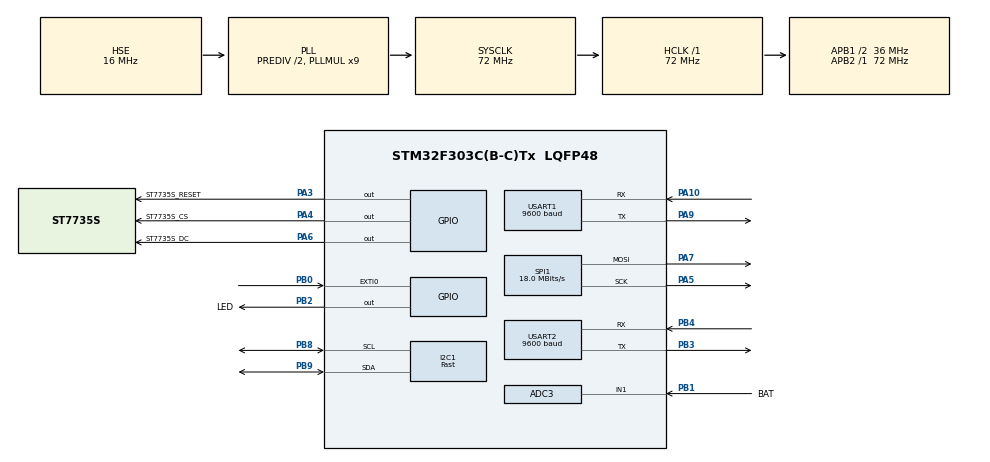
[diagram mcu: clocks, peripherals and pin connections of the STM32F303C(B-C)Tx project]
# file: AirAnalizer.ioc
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ADC3.Channel-0\#ChannelRegularConversion=ADC_CHANNEL_1
ADC3.NbrOfConversionFlag=1
ADC3.Offset-0\#ChannelRegularConversion=0
ADC3.OffsetNumber-0\#ChannelRegularConversion=ADC_OFFSET_NONE
ADC3.Rank-0\#ChannelRegularConversion=1
ADC3.SamplingTime-0\#ChannelRegularConversion=ADC_SAMPLETIME_1CYCLE_5
ADC3.SamplingTimeOPAMP-0\#ChannelRegularConversion=ADC_SAMPLETIME_61CYCLES_5
ADC3.master=1
Dma.ADC3.0.Direction=DMA_PERIPH_TO_MEMORY
Dma.ADC3.0.Instance=DMA2_Channel5
Dma.ADC3.0.MemDataAlignment=DMA_MDATAALIGN_HALFWORD
Dma.ADC3.0.MemInc=DMA_MINC_ENABLE
Dma.ADC3.0.Mode=DMA_NORMAL
Dma.ADC3.0.PeriphDataAlignment=DMA_PDATAALIGN_HALFWORD
Dma.ADC3.0.PeriphInc=DMA_PINC_DISABLE
Dma.ADC3.0.Priority=DMA_PRIORITY_LOW
Dma.Request0=ADC3
I2C1.Analog_Filter=I2C_ANALOGFILTER_ENABLE
I2C1.DualAddressMode=I2C_DUALADDRESS_DISABLE
I2C1.GeneralCallMode=I2C_GENERALCALL_DISABLE
I2C1.I2C_Coeff_DF=0
I2C1.I2C_Fall_Time=0
I2C1.I2C_Rise_Time=0
I2C1.I2C_Speed_Mode=I2C_Fast
I2C1.NoStretchMode=I2C_NOSTRETCH_DISABLE
I2C1.Speed=40
I2C1.Timing=0x3010BEFF
Mcu.Family=STM32F3
Mcu.Name=STM32F303C(B-C)Tx
Mcu.Package=LQFP48
NVIC.DMA2_Channel5_IRQn=true\:0\:0\:false\:false\:true\:false\:true\:true
NVIC.EXTI0_IRQn=true\:0\:0\:false\:false\:true\:true\:true\:true
NVIC.PriorityGroup=NVIC_PRIORITYGROUP_4
NVIC.TIM4_IRQn=true\:0\:0\:false\:false\:true\:true\:true\:true
PA10.Mode=Asynchronous
PA10.Signal=USART1_RX
PA3.GPIO_Label=ST7735S_RESET
PA3.Signal=GPIO_Output
PA4.GPIO_Label=ST7735S_CS
PA4.Signal=GPIO_Output
PA5.Mode=TX_Only_Simplex_Unidirect_Master
PA5.Signal=SPI1_SCK
PA6.GPIO_Label=ST7735S_DC
PA6.Signal=GPIO_Output
PA7.Mode=TX_Only_Simplex_Unidirect_Master
PA7.Signal=SPI1_MOSI
PA9.Mode=Asynchronous
PA9.Signal=USART1_TX
PB0.Signal=GPXTI0
PB1.GPIO_Label=BAT
PB1.Mode=IN1-Single-Ended
PB1.Signal=ADC3_IN1
PB2.GPIO_Label=LED
PB2.Signal=GPIO_Output
PB3.GPIO_PuPd=GPIO_NOPULL
PB3.Mode=Asynchronous
PB3.Signal=USART2_TX
PB4.GPIO_PuPd=GPIO_NOPULL
PB4.Mode=Asynchronous
PB4.Signal=USART2_RX
PB8.GPIO_FM8=SYSCFG_CFGR1_I2C_PB8_FMP
PB8.GPIO_Pu=GPIO_NOPULL
PB8.Mode=I2C
PB8.Signal=I2C1_SCL
PB9.GPIO_FM9=SYSCFG_CFGR1_I2C_PB9_FMP
PB9.GPIO_Pu=GPIO_NOPULL
PB9.Mode=I2C
PB9.Signal=I2C1_SDA
PF0-OSC_IN.Mode=HSE-External-Oscillator
PF0-OSC_IN.Signal=RCC_OSC_IN
PF1-OSC_OUT.Mode=HSE-External-Oscillator
PF1-OSC_OUT.Signal=RCC_OSC_OUT
ProjectManager.HeapSize=0x200
ProjectManager.StackSize=0x400
ProjectManager.TargetToolchain=STM32CubeIDE
RCC.AHBFreq_Value=72000000
RCC.APB1CLKDivider=RCC_HCLK_DIV2
RCC.APB1Freq_Value=36000000
RCC.APB1TimFreq_Value=72000000
RCC.APB2Freq_Value=72000000
RCC.APB2TimFreq_Value=72000000
RCC.CortexFreq_Value=72000000
RCC.HCLKFreq_Value=72000000
RCC.HSE_VALUE=16000000
RCC.HSI_VALUE=8000000
RCC.I2c1ClockSelection=RCC_I2C1CLKSOURCE_SYSCLK
RCC.LSE_VALUE=32768
RCC.PLLMUL=RCC_PLL_MUL9
RCC.PLLSourceVirtual=RCC_PLLSOURCE_HSE
RCC.RCC_PLLsource_Clock_Source_FROM_HSE=RCC_HSE_PREDIV_DIV2
RCC.SYSCLKFreq_VALUE=72000000
RCC.SYSCLKSourceVirtual=RCC_SYSCLKSOURCE_PLLCLK
RCC.USBFreq_Value=72000000
SPI1.BaudRatePrescaler=SPI_BAUDRATEPRESCALER_4
SPI1.CalculateBaudRate=18.0 MBits/s
SPI1.DataSize=SPI_DATASIZE_8BIT
SPI1.Direction=SPI_DIRECTION_2LINES
SPI1.Mode=SPI_MODE_MASTER
SPI1.VirtualType=VM_MASTER
TIM4.AutoReloadPreload=TIM_AUTORELOAD_PRELOAD_ENABLE
TIM4.Channel-Output\ Compare1\ No\ Output=TIM_CHANNEL_1
TIM4.OCMode_1=TIM_OCMODE_TOGGLE
TIM4.Prescaler=2
TIM4.TIM_MasterOutputTrigger=TIM_TRGO_UPDATE
USART1.BaudRate=9600
USART1.Mode=MODE_RX
USART1.VirtualMode-Asynchronous=VM_ASYNC
USART2.BaudRate=9600
USART2.Mode=MODE_RX
USART2.RxPinLevelInvertParam=ADVFEATURE_RXINV_DISABLE
USART2.VirtualMode-Asynchronous=VM_ASYNC
VP_TIM4_VS_ClockSourceINT.Mode=Internal
VP_TIM4_VS_OPM.Mode=OPM_bit
VP_TIM4_VS_no_output1.Mode=Output Compare1 No Output
board=custom

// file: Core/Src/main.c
/* USER CODE BEGIN Header */
/**
  ******************************************************************************
  * @file           : main.c
  * @brief          : Main program body
  ******************************************************************************
  * @attention
  *
  * Copyright (c) 2023 STMicroelectronics.
  * All rights reserved.
  *
  * This software is licensed under terms that can be found in the LICENSE file
  * in the root directory of this software component.
  * If no LICENSE file comes with this software, it is provided AS-IS.
  *
  ******************************************************************************
  */
/* USER CODE END Header */
#include "main.h"

/* USER CODE BEGIN PD */
uint32_t CO2Counter, CO2Interval, scint_counter = 0, scint_timer, battaryLevel = 0 ;
uint16_t CO2;
sSensorMeasurement_t messuremetData;
char text1306[18];
uint16_t ze08_value;
//uint8_t Data_Buffer[9];
uint8_t PM25_buffer[32];
float temperature, pressure, humidity, bataryValue = 0, soundPress = 48.2f, MAX44009_lux = 1150;
/* USER CODE END PD */

ADC_HandleTypeDef hadc3;
DMA_HandleTypeDef hdma_adc3;

I2C_HandleTypeDef hi2c1;

SPI_HandleTypeDef hspi1;

TIM_HandleTypeDef htim4;

UART_HandleTypeDef huart1;
UART_HandleTypeDef huart2;

void SystemClock_Config(void);
static void MX_GPIO_Init(void);
static void MX_DMA_Init(void);
static void MX_SPI1_Init(void);
static void MX_I2C1_Init(void);
static void MX_TIM4_Init(void);
static void MX_USART2_UART_Init(void);
static void MX_USART1_UART_Init(void);
static void MX_ADC3_Init(void);

int main(void)
{

  /* MCU Configuration--------------------------------------------------------*/

  /* Reset of all peripherals, Initializes the Flash interface and the Systick. */
  HAL_Init();

  /* Configure the system clock */
  SystemClock_Config();

  /* Initialize all configured peripherals */
  MX_GPIO_Init();
  MX_DMA_Init();
  MX_SPI1_Init();
  MX_I2C1_Init();
  MX_TIM4_Init();
  MX_USART2_UART_Init();
  MX_USART1_UART_Init();
  MX_ADC3_Init();
  /* USER CODE BEGIN 2 */

  HAL_TIM_Base_Start_IT(&htim4);
  HAL_GPIO_WritePin(LED_GPIO_Port, LED_Pin, GPIO_PIN_SET);
	//HAL_Delay(10);
	//HAL_GPIO_WritePin(LED_GPIO_Port, LED_Pin, GPIO_PIN_RESET);

  uint16_t serialBufer[3];
  serialBufer[0] = 0;
  serialBufer[1] = 0;
  serialBufer[2] = 0;

  ST7735_Init();
  ST7735_FillScreen(ST7735_BLACK);

  ST7735_WriteString(0, 0, "SCD41 init  ", Font_7x10, ST7735_WHITE, ST7735_BLACK);
  moduleReinit();
  enablePeriodMeasure(SCD4X_STOP_PERIODIC_MEASURE);  // Write: C4 0 D:3F 0 D:86 0
  HAL_Delay(500);
  if (getSerialNumber(serialBufer)) { // Write: C4 0 D:36 0 D:82 0 Read: C5 0 D:EA 0 D:AE 0 D:FA 0 D:B7 0 D:07 0 D:29 0 D:3B 0 D:BF Write: C4 0 D:21 0 D:B1 0
	ST7735_WriteString(96, 0, "Ok", Font_7x10, ST7735_GREEN, ST7735_BLACK);
  } else {
	ST7735_WriteString(96, 0, "Fail", Font_7x10, ST7735_RED, ST7735_BLACK);
  }
  enablePeriodMeasure(SCD4X_START_PERIODIC_MEASURE);

  ST7735_WriteString(0, 11, "BME280 init ", Font_7x10, ST7735_WHITE, ST7735_BLACK);
  BME280_Init();
  ST7735_WriteString(96, 11, "Ok", Font_7x10, ST7735_GREEN, ST7735_BLACK);

  uint32_t vvv = AGS02MA_getFirmwareVersion();
  sprintf(text1306, "VER:%lu  ", vvv);
  ST7735_WriteString(0, 44, text1306, Font_7x10, ST7735_WHITE, ST7735_BLACK);

  HAL_Delay(500);
  ST7735_FillScreen(ST7735_BLACK);
  CO2Interval = MEAS_CO2_INTERVAL2;
  CO2Counter = HAL_GetTick();
  scint_counter = 0;
  scint_timer = CO2Counter;

  MAX44009_Init(&MAX44009_PORT);
  MAX44009_ContinuousMode(1);

  /* USER CODE END 2 */

  /* Infinite loop */
  /* USER CODE BEGIN WHILE */
  while (1)
  {
	  	if (HAL_GetTick() - CO2Counter > CO2Interval) {
	  		CO2Counter = HAL_GetTick();
	  		readMeasurement(&messuremetData);
			if (messuremetData.CO2ppm > 0) {
				CO2 = messuremetData.CO2ppm;
				CO2Interval = MEAS_CO2_INTERVAL2;
			} else {
				CO2Interval = MEAS_CO2_INTERVAL1;
			}
			sprintf(text1306, "CO2:%dppm  ", CO2);
			if (CO2 < CO2_NOMINAL) {
				ST7735_WriteString(0, 0, text1306, Font_7x10, ST7735_GREEN, ST7735_BLACK);
			} else if (CO2 < CO2_MAXIMUM) {
				ST7735_WriteString(0, 0, text1306, Font_7x10, ST7735_YELLOW, ST7735_BLACK);
			} else {
				ST7735_WriteString(0, 0, text1306, Font_7x10, ST7735_RED, ST7735_BLACK);
			}
	  	}

	  	//memset(text1306, 0, sizeof(text1306));
	  	if (HAL_GetTick() - scint_timer > 0 ) {
			float mmm = (float) scint_counter / (float) (HAL_GetTick() - scint_timer) * 1000.0f;
			sprintf(text1306, "cps:%.2f %.1f%% ", mmm , 300.f / sqrt((float) scint_counter));
			if (mmm < NORMAL_LEVEL) {
				ST7735_WriteString(0, 11, text1306, Font_7x10, ST7735_GREEN, ST7735_BLACK);
			} else if (mmm < WARN_LEVEL) {
				ST7735_WriteString(0, 11, text1306, Font_7x10, ST7735_YELLOW, ST7735_BLACK);
			} else if (mmm < CRIT_LEVEL) {
				ST7735_WriteString(0, 11, text1306, Font_7x10, ST7735_RED, ST7735_BLACK);
			} else {
				ST7735_WriteString(0, 11, text1306, Font_7x10, ST7735_MAGENTA, ST7735_BLACK);
			}
		}

		temperature = BME280_ReadTemperature();
		pressure = BME280_ReadPressure() * 0.00750063755419211f; //0.00750063755419211
		humidity = BME280_ReadHumidity();
		sprintf(text1306, "T:%.0fC P:%.0f H:%.0f%% ", temperature, pressure, humidity);
		ST7735_WriteString(0, 22, text1306, Font_7x10, ST7735_WHITE, ST7735_BLACK);

		/* TVOC
		 *  Норма содержания летучих веществ в воздухе - до 0.5 mg/m3
		 *  0.8 mg/m3 -- предельное значение.
		 */
		if (HAL_GetTick() > TVOC_TIMEOUT) {
			uint32_t tvoc = AGS02MA_getTVOC();
			sprintf(text1306, "TVOC:%luppb   ", tvoc);
			if (tvoc < NORMAL_TVOC_LEVEL) {
				ST7735_WriteString(0, 33, text1306, Font_7x10, ST7735_GREEN, ST7735_BLACK);
			} else if (tvoc < WARN_TVOC_LEVEL) {
				ST7735_WriteString(0, 33, text1306, Font_7x10, ST7735_YELLOW, ST7735_BLACK);
			} else {
				ST7735_WriteString(0, 33, text1306, Font_7x10, ST7735_RED, ST7735_BLACK);
			}
		} else {
			uint16_t tmout = (TVOC_TIMEOUT - HAL_GetTick()) / 1000;
			sprintf(text1306, "TVOC:WrmUP(%u)  ", tmout);
			ST7735_WriteString(0, 33, text1306, Font_7x10, ST7735_WHITE, ST7735_BLACK);
		}

		/* ZE08
		 * https://gazoanalizators.ru/converter/
		 * 1 ppm формальдегида CH2O равен 1.24577 мг/м3
		 * Средне-суточная ПДК концентрация -- 0.003 мг/м3 0.0024ppm
		 * Разовая ПДК 0,035 мг/м3 -- 0.02803ppm
		 * */

		if((ze08_value = ZE08_readData()) != 0xFFFF) {
			/*
			//ze08_value = ZE08_readData(Data_Buffer, sizeof(Data_Buffer));

			for (int iii = 0; iii < sizeof(Data_Buffer) - 3; iii++) {
				sprintf(text1306, "%2x", Data_Buffer[iii]);
				ST7735_WriteString(iii * 16, 44, text1306, Font_7x10, ST7735_WHITE, ST7735_BLACK);
			}*/
			sprintf(text1306, "CH2O:%uppb     ", ze08_value);
			if (ze08_value < NORMAL_CH2O) {
				ST7735_WriteString(0, 44, text1306, Font_7x10, ST7735_GREEN, ST7735_BLACK);
			} else if (ze08_value < WARN_CH2O) {
				ST7735_WriteString(0, 44, text1306, Font_7x10, ST7735_YELLOW, ST7735_BLACK);
			} else {
				ST7735_WriteString(0, 44, text1306, Font_7x10, ST7735_RED, ST7735_BLACK);
			}
			//	ST7735_WriteString(0, 44, "CH2O: N/A     ", Font_7x10, ST7735_WHITE, ST7735_BLACK);
			//}
		}

		/* PM25*/

		if (PM25_GetData(PM25_buffer, sizeof(PM25_buffer))) {
/*
		for (int iii = 0; iii < sizeof(PM25_buffer); iii++) {
			sprintf(text1306, "%2x", PM25_buffer[iii]);
			ST7735_WriteString(iii * 16, 55, text1306, Font_7x10, ST7735_WHITE, ST7735_BLACK);
		}
*/
			uint16_t part03  = PM25_buffer[16] << 8 | PM25_buffer[17];
			uint16_t part05  = PM25_buffer[18] << 8 | PM25_buffer[19];
			uint16_t part10  = PM25_buffer[20] << 8 | PM25_buffer[21];
			uint16_t part25  = PM25_buffer[22] << 8 | PM25_buffer[23];
			uint16_t part50  = PM25_buffer[24] << 8 | PM25_buffer[25];
			uint16_t part100 = PM25_buffer[26] << 8 | PM25_buffer[27];

			sprintf(text1306, "PM0.3 :%u  ", part03);
			ST7735_WriteString(0, 55, text1306, Font_7x10, ST7735_WHITE, ST7735_BLACK);
			sprintf(text1306, "PM0.5 :%u  ", part05);
			ST7735_WriteString(0, 66, text1306, Font_7x10, ST7735_WHITE, ST7735_BLACK);
			sprintf(text1306, "PM1.0 :%u  ", part10);
			ST7735_WriteString(0, 77, text1306, Font_7x10, ST7735_WHITE, ST7735_BLACK);
			sprintf(text1306, "PM2.5 :%u  ", part25);
			ST7735_WriteString(0, 88, text1306, Font_7x10, ST7735_WHITE, ST7735_BLACK);
			sprintf(text1306, "PM5.0 :%u  ", part50);
			ST7735_WriteString(0, 99, text1306, Font_7x10, ST7735_WHITE, ST7735_BLACK);
			sprintf(text1306, "PM10  :%u  ", part100);
			ST7735_WriteString(0, 110, text1306, Font_7x10, ST7735_WHITE, ST7735_BLACK);
		}

		/* Напряжение источника питания */
		bataryValue = (float) battaryLevel / 4096 * ADC_L_TUNE;
		if (bataryValue > 3) {
			sprintf(text1306, "%.2f", bataryValue);
		} else {
			sprintf(text1306, "BatL");
		}
		ST7735_WriteString(98, 0, text1306, Font_7x10, ST7735_WHITE, ST7735_BLACK);
		HAL_ADC_Start_DMA(&hadc3, &battaryLevel, 1);

		/* Звуковое давление */
		sprintf(text1306, "Sound :%0.1f db", soundPress);
		ST7735_WriteString(0, 121, text1306, Font_7x10, ST7735_WHITE, ST7735_BLACK);

		/* Освещенность */
		if(MAX44009_OK == MAX44009_ReadLightHighResolution(&MAX44009_lux)) {
			sprintf(text1306, "Illum :%0.1f lux   ", MAX44009_lux);
		} else {
			sprintf(text1306, "Illum :%0.0f lux   ", 0.0f);
		}
		ST7735_WriteString(0, 132, text1306, Font_7x10, ST7735_WHITE, ST7735_BLACK);

		HAL_Delay(1000);
    /* USER CODE END WHILE */

  }
}

void SystemClock_Config(void)
{
  RCC_OscInitTypeDef RCC_OscInitStruct = {0};
  RCC_ClkInitTypeDef RCC_ClkInitStruct = {0};
  RCC_PeriphCLKInitTypeDef PeriphClkInit = {0};

  /** Initializes the RCC Oscillators according to the specified parameters
  * in the RCC_OscInitTypeDef structure.
  */
  RCC_OscInitStruct.OscillatorType = RCC_OSCILLATORTYPE_HSE;
  RCC_OscInitStruct.HSEState = RCC_HSE_ON;
  RCC_OscInitStruct.HSEPredivValue = RCC_HSE_PREDIV_DIV2;
  RCC_OscInitStruct.HSIState = RCC_HSI_ON;
  RCC_OscInitStruct.PLL.PLLState = RCC_PLL_ON;
  RCC_OscInitStruct.PLL.PLLSource = RCC_PLLSOURCE_HSE;
  RCC_OscInitStruct.PLL.PLLMUL = RCC_PLL_MUL9;
  if (HAL_RCC_OscConfig(&RCC_OscInitStruct) != HAL_OK)
  {
    Error_Handler();
  }

  /** Initializes the CPU, AHB and APB buses clocks
  */
  RCC_ClkInitStruct.ClockType = RCC_CLOCKTYPE_HCLK|RCC_CLOCKTYPE_SYSCLK
                              |RCC_CLOCKTYPE_PCLK1|RCC_CLOCKTYPE_PCLK2;
  RCC_ClkInitStruct.SYSCLKSource = RCC_SYSCLKSOURCE_PLLCLK;
  RCC_ClkInitStruct.AHBCLKDivider = RCC_SYSCLK_DIV1;
  RCC_ClkInitStruct.APB1CLKDivider = RCC_HCLK_DIV2;
  RCC_ClkInitStruct.APB2CLKDivider = RCC_HCLK_DIV1;

  if (HAL_RCC_ClockConfig(&RCC_ClkInitStruct, FLASH_LATENCY_2) != HAL_OK)
  {
    Error_Handler();
  }
  PeriphClkInit.PeriphClockSelection = RCC_PERIPHCLK_USART1|RCC_PERIPHCLK_USART2
                              |RCC_PERIPHCLK_I2C1|RCC_PERIPHCLK_ADC34;
  PeriphClkInit.Usart1ClockSelection = RCC_USART1CLKSOURCE_PCLK2;
  PeriphClkInit.Usart2ClockSelection = RCC_USART2CLKSOURCE_PCLK1;
  PeriphClkInit.Adc34ClockSelection = RCC_ADC34PLLCLK_DIV1;
  PeriphClkInit.I2c1ClockSelection = RCC_I2C1CLKSOURCE_SYSCLK;
  if (HAL_RCCEx_PeriphCLKConfig(&PeriphClkInit) != HAL_OK)
  {
    Error_Handler();
  }
}

static void MX_ADC3_Init(void)
{

  ADC_MultiModeTypeDef multimode = {0};
  ADC_ChannelConfTypeDef sConfig = {0};

  /** Common config
  */
  hadc3.Instance = ADC3;
  hadc3.Init.ClockPrescaler = ADC_CLOCK_ASYNC_DIV1;
  hadc3.Init.Resolution = ADC_RESOLUTION_12B;
  hadc3.Init.ScanConvMode = ADC_SCAN_DISABLE;
  hadc3.Init.ContinuousConvMode = DISABLE;
  hadc3.Init.DiscontinuousConvMode = DISABLE;
  hadc3.Init.ExternalTrigConvEdge = ADC_EXTERNALTRIGCONVEDGE_NONE;
  hadc3.Init.ExternalTrigConv = ADC_SOFTWARE_START;
  hadc3.Init.DataAlign = ADC_DATAALIGN_RIGHT;
  hadc3.Init.NbrOfConversion = 1;
  hadc3.Init.DMAContinuousRequests = DISABLE;
  hadc3.Init.EOCSelection = ADC_EOC_SINGLE_CONV;
  hadc3.Init.LowPowerAutoWait = DISABLE;
  hadc3.Init.Overrun = ADC_OVR_DATA_OVERWRITTEN;
  if (HAL_ADC_Init(&hadc3) != HAL_OK)
  {
    Error_Handler();
  }

  /** Configure the ADC multi-mode
  */
  multimode.Mode = ADC_MODE_INDEPENDENT;
  if (HAL_ADCEx_MultiModeConfigChannel(&hadc3, &multimode) != HAL_OK)
  {
    Error_Handler();
  }

  /** Configure Regular Channel
  */
  sConfig.Channel = ADC_CHANNEL_1;
  sConfig.Rank = ADC_REGULAR_RANK_1;
  sConfig.SingleDiff = ADC_SINGLE_ENDED;
  sConfig.SamplingTime = ADC_SAMPLETIME_1CYCLE_5;
  sConfig.OffsetNumber = ADC_OFFSET_NONE;
  sConfig.Offset = 0;
  if (HAL_ADC_ConfigChannel(&hadc3, &sConfig) != HAL_OK)
  {
    Error_Handler();
  }

}

static void MX_I2C1_Init(void)
{

  hi2c1.Instance = I2C1;
  hi2c1.Init.Timing = 0x3010BEFF;
  hi2c1.Init.OwnAddress1 = 0;
  hi2c1.Init.AddressingMode = I2C_ADDRESSINGMODE_7BIT;
  hi2c1.Init.DualAddressMode = I2C_DUALADDRESS_DISABLE;
  hi2c1.Init.OwnAddress2 = 0;
  hi2c1.Init.OwnAddress2Masks = I2C_OA2_NOMASK;
  hi2c1.Init.GeneralCallMode = I2C_GENERALCALL_DISABLE;
  hi2c1.Init.NoStretchMode = I2C_NOSTRETCH_DISABLE;
  if (HAL_I2C_Init(&hi2c1) != HAL_OK)
  {
    Error_Handler();
  }

  /** Configure Analogue filter
  */
  if (HAL_I2CEx_ConfigAnalogFilter(&hi2c1, I2C_ANALOGFILTER_ENABLE) != HAL_OK)
  {
    Error_Handler();
  }

  /** Configure Digital filter
  */
  if (HAL_I2CEx_ConfigDigitalFilter(&hi2c1, 0) != HAL_OK)
  {
    Error_Handler();
  }

}

static void MX_SPI1_Init(void)
{

  /* SPI1 parameter configuration*/
  hspi1.Instance = SPI1;
  hspi1.Init.Mode = SPI_MODE_MASTER;
  hspi1.Init.Direction = SPI_DIRECTION_2LINES;
  hspi1.Init.DataSize = SPI_DATASIZE_8BIT;
  hspi1.Init.CLKPolarity = SPI_POLARITY_LOW;
  hspi1.Init.CLKPhase = SPI_PHASE_1EDGE;
  hspi1.Init.NSS = SPI_NSS_SOFT;
  hspi1.Init.BaudRatePrescaler = SPI_BAUDRATEPRESCALER_4;
  hspi1.Init.FirstBit = SPI_FIRSTBIT_MSB;
  hspi1.Init.TIMode = SPI_TIMODE_DISABLE;
  hspi1.Init.CRCCalculation = SPI_CRCCALCULATION_DISABLE;
  hspi1.Init.CRCPolynomial = 7;
  hspi1.Init.CRCLength = SPI_CRC_LENGTH_DATASIZE;
  hspi1.Init.NSSPMode = SPI_NSS_PULSE_ENABLE;
  if (HAL_SPI_Init(&hspi1) != HAL_OK)
  {
    Error_Handler();
  }

}

static void MX_TIM4_Init(void)
{

  TIM_ClockConfigTypeDef sClockSourceConfig = {0};
  TIM_MasterConfigTypeDef sMasterConfig = {0};
  TIM_OC_InitTypeDef sConfigOC = {0};

  htim4.Instance = TIM4;
  htim4.Init.Prescaler = 2;
  htim4.Init.CounterMode = TIM_COUNTERMODE_UP;
  htim4.Init.Period = 65535;
  htim4.Init.ClockDivision = TIM_CLOCKDIVISION_DIV1;
  htim4.Init.AutoReloadPreload = TIM_AUTORELOAD_PRELOAD_ENABLE;
  if (HAL_TIM_Base_Init(&htim4) != HAL_OK)
  {
    Error_Handler();
  }
  sClockSourceConfig.ClockSource = TIM_CLOCKSOURCE_INTERNAL;
  if (HAL_TIM_ConfigClockSource(&htim4, &sClockSourceConfig) != HAL_OK)
  {
    Error_Handler();
  }
  if (HAL_TIM_OC_Init(&htim4) != HAL_OK)
  {
    Error_Handler();
  }
  if (HAL_TIM_OnePulse_Init(&htim4, TIM_OPMODE_SINGLE) != HAL_OK)
  {
    Error_Handler();
  }
  sMasterConfig.MasterOutputTrigger = TIM_TRGO_UPDATE;
  sMasterConfig.MasterSlaveMode = TIM_MASTERSLAVEMODE_DISABLE;
  if (HAL_TIMEx_MasterConfigSynchronization(&htim4, &sMasterConfig) != HAL_OK)
  {
    Error_Handler();
  }
  sConfigOC.OCMode = TIM_OCMODE_TOGGLE;
  sConfigOC.Pulse = 0;
  sConfigOC.OCPolarity = TIM_OCPOLARITY_HIGH;
  sConfigOC.OCFastMode = TIM_OCFAST_DISABLE;
  if (HAL_TIM_OC_ConfigChannel(&htim4, &sConfigOC, TIM_CHANNEL_1) != HAL_OK)
  {
    Error_Handler();
  }

}

static void MX_USART1_UART_Init(void)
{

  huart1.Instance = USART1;
  huart1.Init.BaudRate = 9600;
  huart1.Init.WordLength = UART_WORDLENGTH_8B;
  huart1.Init.StopBits = UART_STOPBITS_1;
  huart1.Init.Parity = UART_PARITY_NONE;
  huart1.Init.Mode = UART_MODE_RX;
  huart1.Init.HwFlowCtl = UART_HWCONTROL_NONE;
  huart1.Init.OverSampling = UART_OVERSAMPLING_16;
  huart1.Init.OneBitSampling = UART_ONE_BIT_SAMPLE_DISABLE;
  huart1.AdvancedInit.AdvFeatureInit = UART_ADVFEATURE_NO_INIT;
  if (HAL_UART_Init(&huart1) != HAL_OK)
  {
    Error_Handler();
  }

}

static void MX_USART2_UART_Init(void)
{

  huart2.Instance = USART2;
  huart2.Init.BaudRate = 9600;
  huart2.Init.WordLength = UART_WORDLENGTH_8B;
  huart2.Init.StopBits = UART_STOPBITS_1;
  huart2.Init.Parity = UART_PARITY_NONE;
  huart2.Init.Mode = UART_MODE_RX;
  huart2.Init.HwFlowCtl = UART_HWCONTROL_NONE;
  huart2.Init.OverSampling = UART_OVERSAMPLING_16;
  huart2.Init.OneBitSampling = UART_ONE_BIT_SAMPLE_DISABLE;
  huart2.AdvancedInit.AdvFeatureInit = UART_ADVFEATURE_NO_INIT;
  if (HAL_UART_Init(&huart2) != HAL_OK)
  {
    Error_Handler();
  }

}

static void MX_DMA_Init(void)
{

  /* DMA controller clock enable */
  __HAL_RCC_DMA2_CLK_ENABLE();

  /* DMA interrupt init */
  /* DMA2_Channel5_IRQn interrupt configuration */
  HAL_NVIC_SetPriority(DMA2_Channel5_IRQn, 0, 0);
  HAL_NVIC_EnableIRQ(DMA2_Channel5_IRQn);

}

static void MX_GPIO_Init(void)
{
  GPIO_InitTypeDef GPIO_InitStruct = {0};

  /* GPIO Ports Clock Enable */
  __HAL_RCC_GPIOF_CLK_ENABLE();
  __HAL_RCC_GPIOA_CLK_ENABLE();
  __HAL_RCC_GPIOB_CLK_ENABLE();

  /*Configure GPIO pin Output Level */
  HAL_GPIO_WritePin(GPIOA, ST7735S_RESET_Pin|ST7735S_CS_Pin|ST7735S_DC_Pin, GPIO_PIN_RESET);

  /*Configure GPIO pin Output Level */
  HAL_GPIO_WritePin(LED_GPIO_Port, LED_Pin, GPIO_PIN_RESET);

  /*Configure GPIO pins : ST7735S_RESET_Pin ST7735S_CS_Pin ST7735S_DC_Pin */
  GPIO_InitStruct.Pin = ST7735S_RESET_Pin|ST7735S_CS_Pin|ST7735S_DC_Pin;
  GPIO_InitStruct.Mode = GPIO_MODE_OUTPUT_PP;
  GPIO_InitStruct.Pull = GPIO_NOPULL;
  GPIO_InitStruct.Speed = GPIO_SPEED_FREQ_LOW;
  HAL_GPIO_Init(GPIOA, &GPIO_InitStruct);

  /*Configure GPIO pin : PB0 */
  GPIO_InitStruct.Pin = GPIO_PIN_0;
  GPIO_InitStruct.Mode = GPIO_MODE_IT_RISING;
  GPIO_InitStruct.Pull = GPIO_NOPULL;
  HAL_GPIO_Init(GPIOB, &GPIO_InitStruct);

  /*Configure GPIO pin : LED_Pin */
  GPIO_InitStruct.Pin = LED_Pin;
  GPIO_InitStruct.Mode = GPIO_MODE_OUTPUT_PP;
  GPIO_InitStruct.Pull = GPIO_NOPULL;
  GPIO_InitStruct.Speed = GPIO_SPEED_FREQ_LOW;
  HAL_GPIO_Init(LED_GPIO_Port, &GPIO_InitStruct);

  /* EXTI interrupt init*/
  HAL_NVIC_SetPriority(EXTI0_IRQn, 0, 0);
  HAL_NVIC_EnableIRQ(EXTI0_IRQn);

}

void Error_Handler(void)
{
  __disable_irq();
  while (1)
  {
  }
}
